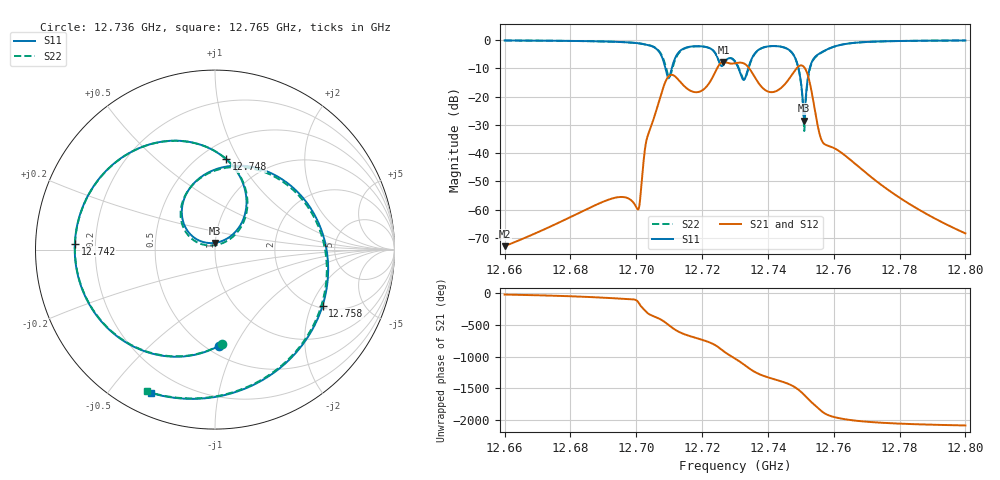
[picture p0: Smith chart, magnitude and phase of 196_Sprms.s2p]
! TOUCHSTONE file generated by CST MICROWAVE STUDIO
! Date and time: Wed Jul 31 20:50:20 2024
! Project name: WaveGuide_BPF-Ver4.1_U-shape_Ku_T3_C4_CWA_2.cst
! Parameters = {cavity_h=16; cavity_l0=10; cavity_l1=15.199; cavity_l2=16.812; cavity_l3=17.1103; cavity_l4=17.2632; cavity_l5=17.0947; cavity_l6=17.6378; cavity_r=2.5; cavity_screw_l=0.5; cavity_screw_r=1.5; cavity_w=8; iris_h00=0; iris_h01=8.829; iris_h112=0; iris_h12=5.6134; iris_h211=3.663; iris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
! Header version: 2018
! Port assignment regex: !\s*Touchstone port\s*([0-9]+)\s*=\s*(CST MWS port|CST DS port)\s*([0-9]+|Zmin|Zmax)\s*\(\"(.*)\"\)(\s*mode\s*([0-9]+))?.*
! Touchstone port assignment:
! Touchstone port 1 = CST MWS port 1 ("")
! Touchstone port 2 = CST MWS port 2 ("")
# GHz S RI R 50
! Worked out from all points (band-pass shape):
!   5001 points, 12.66 GHz to 12.8 GHz, reference 50 ohm
!   highest |S21| = -7.78 dB at 12.726 GHz (marker M1); lowest = -72.9 dB at 12.66 GHz (marker M2)
!   |S21| within 3 dB of the highest: 12.72424 GHz to 12.73477 GHz (10.53 MHz wide, 0.0827 % of centre); 12.7482 GHz to 12.7516 GHz (3.397 MHz wide, 0.0266 % of centre)
!   lowest |S11| = -28.5 dB at 12.751 GHz (marker M3), VSWR 1.08, Z = 49.6 + j3.73 ohm
!   |S11| at or under -10 dB: 12.70886 GHz to 12.71079 GHz (1.933 MHz wide, 0.0152 % of centre); 12.73104 GHz to 12.73402 GHz (2.983 MHz wide, 0.0234 % of centre); 12.74929 GHz to 12.75271 GHz (3.427 MHz wide, 0.0269 % of centre)
!   |S22| runs from -32.2 to -0.2 dB; largest |S21 - S12| = 1e-09
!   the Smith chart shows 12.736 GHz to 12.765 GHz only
!   S11 on the Smith chart (normalised r, x): 12.736 GHz: 0.57, -0.86; 12.742 GHz: 0.12, +0.02; 12.748 GHz: 0.65, +0.89; 12.758 GHz: 2.10, -2.42; 12.765 GHz: 0.09, -0.64
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12.66  0.3612 0.9111  0.000203 -9.76e-05  0.000203 -9.76e-05  0.3695 0.9076
12.68335  0.7742 0.5635  0.000471 -0.000786  0.000471 -0.000786  0.7822 0.5516
12.70046  0.8021 -0.3554  -0.000715 -0.000707  -0.000715 -0.000707  0.793 -0.3755
12.70309  0.6061 -0.5567  0.00858 0.0144  0.00858 0.0144  0.5934 -0.5735
12.70668  0.0172 -0.6462  0.0593 -0.0446  0.0593 -0.0446  0.0143 -0.6616
12.70883  -0.289 -0.1382  -0.0438 -0.1751  -0.0438 -0.1751  -0.3085 -0.1856
12.71093  0.1928 0.2798  -0.2399 0.0309  -0.2399 0.0309  0.1281 0.2801
12.7139  0.6399 -0.2294  0.0118 0.1673  0.0118 0.1673  0.6301 -0.2111
12.71838  0.1364 -0.7644  0.1177 0.0188  0.1177 0.0188  0.1211 -0.7639
12.72297  -0.5132 -0.4471  0.0612 -0.1978  0.0612 -0.1978  -0.5256 -0.4322
12.7265  -0.3212 -0.1812  -0.3951 0.1037  -0.3951 0.1037  -0.3239 -0.1749
12.73  -0.366 0.1905  0.2453 0.2994  0.2453 0.2994  -0.3756 0.1918
12.73322  0.2216 0.00954  0.1588 -0.3326  0.1588 -0.3326  0.214 0.0384
12.73566  0.0196 -0.5371  -0.2075 -0.117  -0.2075 -0.117  0.0373 -0.5257
12.74182  -0.7809 0.0333  0.00969 0.1204  0.00969 0.1204  -0.7799 0.0328
12.74809  0.0613 0.5041  0.2248 -0.1725  0.2248 -0.1725  0.0685 0.4991
12.751  -0.00222 0.0375  -0.3098 -0.1162  -0.3098 -0.1162  0.00323 0.0252
12.75335  -0.0824 0.4011  0.0245 0.1125  0.0245 0.1125  -0.0989 0.3848
12.75786  0.599 -0.3135  -0.00455 -0.013  -0.00455 -0.013  0.5887 -0.324
12.76511  -0.3582 -0.7983  -0.00721 0.00222  -0.00721 0.00222  -0.3782 -0.7902
12.77668  -0.8978 -0.3135  -0.000922 0.002  -0.000922 0.002  -0.9033 -0.299
12.8  -0.946 0.2571  7.78e-05 0.000371  7.78e-05 0.000371  -0.9435 0.2668
